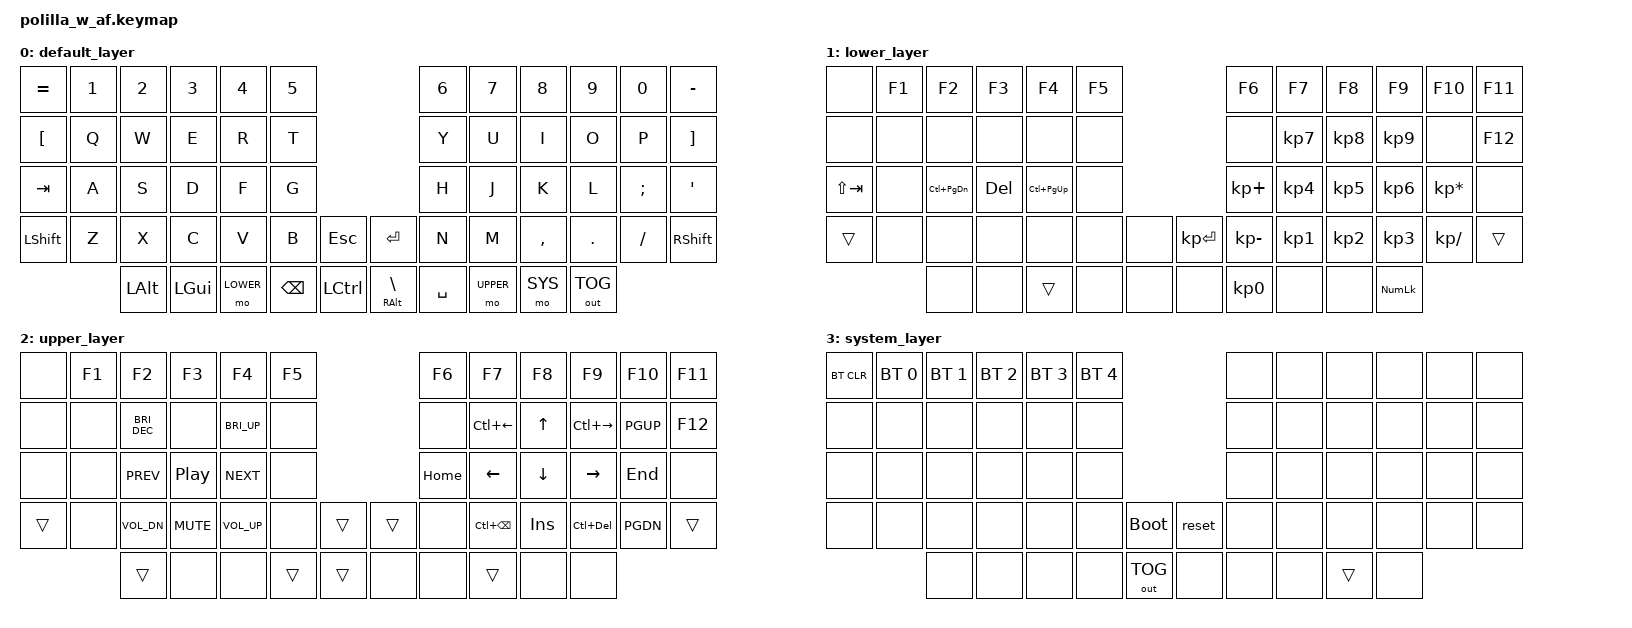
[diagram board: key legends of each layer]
/*
 * Copyright (c) 2020 The ZMK Contributors
 *
 * SPDX-License-Identifier: MIT
 */

#include <behaviors.dtsi>
#include <dt-bindings/zmk/keys.h>
#include <dt-bindings/zmk/bt.h>
#include <dt-bindings/zmk/outputs.h>

#define LOWER 1
#define UPPER 2
#define SYS 3


/ {
	keymap {
		compatible = "zmk,keymap";

		default_layer {
// ,-----------------------------------,              ,-----------------------------------,
// |  =  |  1  |  2  |  3  |  4  |  5  |              |  6  |  7  |  8  |  9  |  0  |  -  |
// |  [  |  Q  |  W  |  E  |  R  |  T  |              |  Y  |  U  |  I  |  O  |  P  |  ]  |
// | TAB |  A  |  S  |  D  |  F  |  G  |-----,  ,-----|  H  |  J  |  K  |  L  |  ;  |  '  |
// | SFT |  Z  |  X  |  C  |  V  |  B  | ESC |  | ENT |  N  |  M  |  ,  |  .  |  /  | SFT |
// '-----------| LAL | GUI |LOWER| BSP | CTL |  | RAL | SPC |UPPER| SYS | TOG |-----------'
//             '-----------------------------'  '-----------------------------'
			bindings = <
&kp EQUAL   &kp N1      &kp N2      &kp N3      &kp N4      &kp N5                              &kp N6      &kp N7      &kp N8      &kp N9      &kp N0      &kp MINUS
&kp LBKT    &kp Q       &kp W       &kp E       &kp R       &kp T                               &kp Y       &kp U       &kp I       &kp O       &kp P       &kp RBKT
&kp TAB     &kp A       &kp S       &kp D       &kp F       &kp G                               &kp H       &kp J       &kp K       &kp L       &kp SEMI    &kp SQT
&kp LSHFT   &kp Z       &kp X       &kp C       &kp V       &kp B       &kp ESC     &kp RET     &kp N       &kp M       &kp COMMA   &kp DOT     &kp FSLH    &kp RSHFT
                        &kp LALT    &kp LGUI    &mo LOWER   &kp BSPC    &kp LCTL    &mt RALT BSLH &kp SPACE &mo UPPER   &mo SYS  	&out OUT_TOG
			>;
		};

		lower_layer {
// ,-----------------------------------,              ,-----------------------------------,
// | --- | F1  | F2  | F3  | F4  | F5  |              |  F6 |  F7 |  F8 |  F9 | F10 | F11 |
// | --- | --- | --- | --- | --- | --- |              | --- |  7  |  8  |  9  | --- | F12 |
// |S-TAB| --- |PRETB| DEL |NXTTB| --- |-----,  ,-----|  +  |  4  |  5  |  6  |  *  | --- |
// |  T  | --- | --- | --- | --- | --- | --- |  |KPENT|  -  |  1  |  2  |  3  |  /  |  T  |
// '-----------| --- | --- |  T  | --- | --- |  | --- |  0  | --- | --- | NLK |-----------'
//             '-----------------------------'  '-----------------------------'
			bindings = <
&none		&kp F1     	&kp F2      &kp F3      &kp F4      &kp F5                              &kp F6      &kp F7      &kp F8      &kp F9      &kp F10     &kp F11
&none		&none 		&none 		&none 		&none 		&none                   			&none       &kp KP_N7   &kp KP_N8   &kp KP_N9   &none       &kp F12
&kp LS(TAB) &none       &kp LC(PG_DN) &kp DEL   &kp LC(PG_UP) &none                           	&kp KP_PLUS &kp KP_N4   &kp KP_N5   &kp KP_N6   &kp KP_MULTIPLY &none
&trans   	&none       &none       &none       &none       &none       &none 		&kp KP_ENTER &kp KP_MINUS &kp KP_N1 &kp KP_N2   &kp KP_N3  	&kp KP_DIVIDE &trans
                        &none  		&none  		&trans      &none      	&none      	&none       &kp KP_N0   &none     	&none       &kp KP_NLCK
			>;
		};

		upper_layer {
// ,-----------------------------------,              ,-----------------------------------,
// | --- |  F1 |  F2 |  F3 |  F4 |  F5 |              |  F6 |  F7 |  F8 |  F9 | F10 | F11 |
// | --- | --- | BRID| --- | BRIU| --- |              | --- | PREV|  UP | NEXT| PGUP| F12 |
// | --- | --- | PREV| PLAY| NEXT| --- |-----,  ,-----| HOME| LEFT| DOWN|RIGHT| END | --- |
// |  T  | --- | VOLD| MUTE| VOLU| --- |  T  |  |  T  | --- | DELP| INS | DELN| PGDN|  T  |
// '-----------|  T  | --- | --- |  T  |  T  |  | --- | --- |  T  | --- | --- |-----------'
//             '-----------------------------'  '-----------------------------'
			bindings = <
&none		&kp F1     	&kp F2      &kp F3      &kp F4      &kp F5                              &kp F6      &kp F7      &kp F8      &kp F9      &kp F10     &kp F11
&none   	&none  		&kp C_BRI_DEC &none  	&kp C_BRI_UP &none                     			&none       &kp LC(LEFT) &kp UP     &kp LC(RIGHT) &kp PGUP  &kp F12
&none       &none       &kp C_PREV  &kp C_PP    &kp C_NEXT  &none                           	&kp HOME    &kp LEFT    &kp DOWN    &kp RIGHT   &kp END     &none
&trans   	&none       &kp C_VOL_DN &kp C_MUTE &kp C_VOL_UP &none     	&trans      &trans      &none       &kp LC(BSPC) &kp INS    &kp LC(DEL) &kp PGDN    &trans
                        &trans      &none       &none     	&trans      &trans      &none       &none       &trans      &none       &none
			>;
		};

		system_layer {
// ,-----------------------------------,              ,-----------------------------------,
// |BTCLR| BT1 | BT2 | BT3 | BT4 | BT5 |              | --- | --- | --- | --- | --- | --- |
// | --- | --- | --- | --- | --- | --- |              | --- | --- | --- | --- | --- | --- |
// | --- | --- | --- | --- | --- | --- |-----,  ,-----| --- | --- | --- | --- | --- | --- |
// | --- | --- | --- | --- | --- | --- |BOOT |  | RST | --- | --- | --- | --- | --- | --- |
// '-----------| --- | --- | --- | --- | TOG |  | --- | --- | --- |  T  | --- |-----------'
//             '-----------------------------'  '-----------------------------'
			bindings = < 
&bt BT_CLR	&bt BT_SEL 0 &bt BT_SEL 1 &bt BT_SEL 2 &bt BT_SEL 3 &bt BT_SEL 4                    &none      	&none      	&none      	&none      	&none     	&none
&none		&none 		&none 		&none 		&none 		&none                    			&none       &none 		&none     	&none 		&none  		&none
&none       &none       &none  		&none    	&none		&none                            	&none    	&none    	&none    	&none   	&none     	&none
&none   	&none       &none 		&none 		&none 		&none     	&bootloader   &reset      &none       &none 		&none    	&none 		&none    	&none
                        &none      	&none       &none      	&none      	&out OUT_TOG  &none       &none       &none      	&trans      &none
			>;
		};
	};
};
